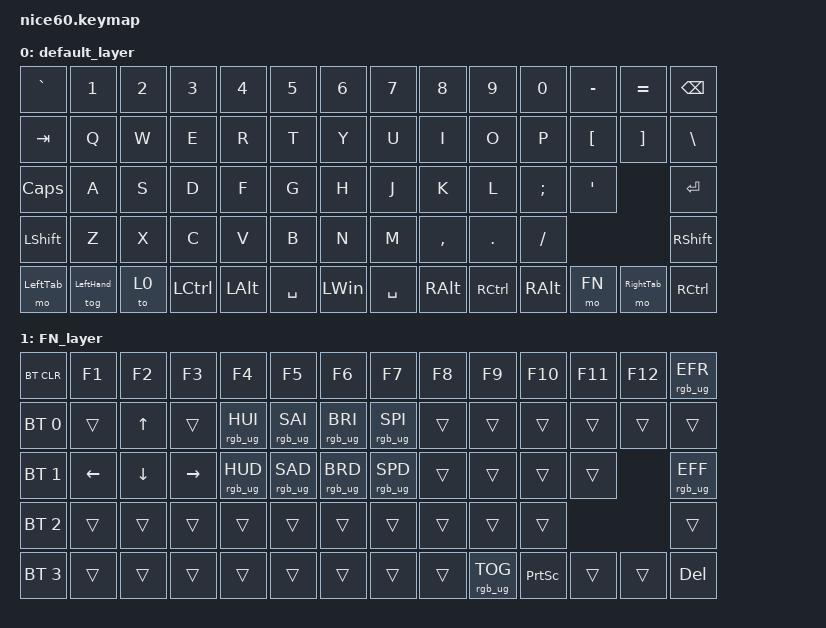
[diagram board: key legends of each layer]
/*
 * Copyright (c) 2021 Nick Winans
 *
 * SPDX-License-Identifier: MIT
 */

#include <behaviors.dtsi>
#include <dt-bindings/zmk/keys.h>
#include <dt-bindings/zmk/rgb.h>
#include <dt-bindings/zmk/bt.h>

#define FN       1//用FN替代数字1表示1层，提供各种键盘属性功能
#define LeftHand 2//适用于右手操作鼠标，左手操纵键盘，左手需要在输入数字，快捷键，字母之间切换的层
#define LeftTab  3//左手小拇指侧手掌按压键盘按键，快捷切换层
#define RightTab 4//右手小拇指侧手掌按压键盘按键，快捷切换层
/ {
	keymap {
		compatible = "zmk,keymap";
		
		default_layer {
// ------------------------------------------------------------------------------------------
// |  `  |  1  |  2  |  3  |  4  |  5  |  6  |  7  |  8  |  9  |  0  |  -  |  =  |    BKSP    |
// |  TAB   |  Q  |  W  |  E  |  R  |  T  |  Y  |  U  |  I  |  O  |  P  |  [  |  ]  |   "\"   |
// |  CAPS   |  A  |  S  |  D  |  F  |  G  |  H  |  J  |  K  |  L  |  ;  |  '  |     ENTER    |
// |   SHIFT   |  Z  |  X  |  C  |  V  |  B  |  N  |  M  |  ,  |  .  |  /  |      SHIFT       |
// |MO(3)|tog(2)|to(0)| CTL | ALT |SPACE| WIN |SPACE| ALT |CTL|SPACE|  MO(1) | MO(4) |  CTL  |
// ------------------------------------------------------------------------------------------
			bindings = <
	&kp GRAVE    &kp N1   &kp N2    &kp N3    &kp N4    &kp N5    &kp N6    &kp N7    &kp N8     &kp N9     &kp N0    &kp MINUS &kp EQUAL  &kp BSPC
	&kp TAB      &kp Q    &kp W     &kp E     &kp R     &kp T     &kp Y     &kp U     &kp I      &kp O      &kp P     &kp LBKT  &kp RBKT   &kp BSLH
	&kp CLCK     &kp A    &kp S     &kp D     &kp F     &kp G     &kp H     &kp J     &kp K      &kp L      &kp SEMI  &kp SQT              &kp RET
	&kp LSHFT    &kp Z    &kp X     &kp C     &kp V     &kp B     &kp N     &kp M     &kp COMMA  &kp DOT    &kp FSLH                       &kp RSHFT
	&mo LeftTab  &tog LeftHand &to 0  &kp LCTRL  &kp LALT &kp SPACE &kp LWIN &kp SPACE &kp RALT  &kp RCTRL  &kp RALT  &mo FN  &mo RightTab &kp RCTRL
			>;
		};
 
		FN_layer {
// ------------------------------------------------------------------------------------------------
// | BT CLR | F1  | F2  | F3  | F4  | F5  | F6  | F7  | F8  | F9  | F10  | F11 | F12 | EFFECT REV |
// |  BT 1   |   |  UP |   | HUEUP | SATUP | BRIUP | SPDUP |   |     |    |     |     |           |
// |   BT 2   | LT |  DN  | RT | HUEDN | SATDN | BRIDN | SPDDN |   |     |   |     |  EFFECT FORW |
// |    BT 3     |     |      |      |     |     |     |     |     |     |     |                  |
// |   BT 4  |      |      |             TOG RGB                | PRT SCR |       |       |  DEL  |
// ------------------------------------------------------------------------------------------------
			bindings = <
	&bt BT_CLR   &kp F1    &kp F2    &kp F3  &kp F4           &kp F5          &kp F6          &kp F7          &kp F8   &kp F9   &kp F10  &kp F11 &kp F12  &rgb_ug RGB_EFR
	&bt BT_SEL 0  &trans    &kp UP    &trans  &rgb_ug RGB_HUI  &rgb_ug RGB_SAI &rgb_ug RGB_BRI &rgb_ug RGB_SPI  &trans   &trans   &trans   &trans  &trans          &trans 
	&bt BT_SEL 1   &kp LEFT  &kp DOWN  &kp RIGHT &rgb_ug RGB_HUD &rgb_ug RGB_SAD &rgb_ug RGB_BRD &rgb_ug RGB_SPD &trans   &trans   &trans   &trans        &rgb_ug RGB_EFF
	&bt BT_SEL 2    &trans    &trans    &trans   &trans          &trans          &trans          &trans          &trans   &trans   &trans                          &trans
	&bt BT_SEL 3  &trans   &trans &trans &trans &trans   &trans    &trans     &trans    &rgb_ug RGB_TOG    &kp PSCRN      &trans      &trans               &kp DEL
			>;
		};
	};
	//组合键
	 combos {
        compatible = "zmk,combos";
		//"`"和"1"一起按下组合为ESC键
        combo_esc {
            timeout-ms = <50>;
            key-positions = <0 1>;
            bindings = <&kp ESC>;
        };
		//"="和"backspace"一起按下组合为del键
		combo_delete {
            timeout-ms = <50>;
            key-positions = <12 13>;
            bindings = <&kp DELETE>;
        };
		//"`"和"tab"一起按下组合为返回桌面
		combo_desktop {
            timeout-ms = <50>;
            key-positions = <0 14>;
            bindings = <&kp LEFT_WIN &kp D>;
        };
    };
};

